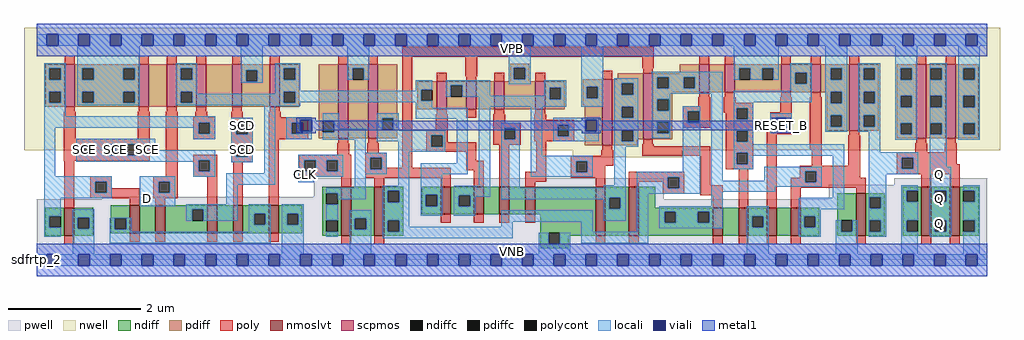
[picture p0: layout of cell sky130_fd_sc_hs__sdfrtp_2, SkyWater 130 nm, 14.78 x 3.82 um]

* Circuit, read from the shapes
.subckt sky130_fd_sc_hs__sdfrtp_2 CLK D RESET_B SCD SCE VGND VNB VPB VPWR Q
XM1 VGND SCE n1 VNB sky130_fd_pr__nfet_01v8_lvt w=0.42 l=0.15
XM2 n2 n1 n3 VNB sky130_fd_pr__nfet_01v8_lvt w=0.42 l=0.15
XM3 n4 D n2 VNB sky130_fd_pr__nfet_01v8_lvt w=0.42 l=0.15
XM4 n5 SCE n4 VNB sky130_fd_pr__nfet_01v8_lvt w=0.42 l=0.15
XM5 n3 SCD n5 VNB sky130_fd_pr__nfet_01v8_lvt w=0.42 l=0.15
XM6 VGND RESET_B n3 VNB sky130_fd_pr__nfet_01v8_lvt w=0.42 l=0.15
XM7 VGND CLK n6 VNB sky130_fd_pr__nfet_01v8_lvt w=0.74 l=0.15
XM8 n7 n6 VGND VNB sky130_fd_pr__nfet_01v8_lvt w=0.74 l=0.15
XM9 n8 n6 n4 VNB sky130_fd_pr__nfet_01v8_lvt w=0.42 l=0.15
XM10 n9 n7 n8 VNB sky130_fd_pr__nfet_01v8_lvt w=0.42 l=0.15
XM11 n10 n11 n9 VNB sky130_fd_pr__nfet_01v8_lvt w=0.42 l=0.15
XM12 VGND RESET_B n10 VNB sky130_fd_pr__nfet_01v8_lvt w=0.42 l=0.15
XM13 n11 n8 VGND VNB sky130_fd_pr__nfet_01v8_lvt w=0.74 l=0.15
XM14 n12 n7 n11 VNB sky130_fd_pr__nfet_01v8_lvt w=0.74 l=0.15
XM15 n13 n6 n12 VNB sky130_fd_pr__nfet_01v8_lvt w=0.42 l=0.15
XM16 VGND n14 n13 VNB sky130_fd_pr__nfet_01v8_lvt w=0.42 l=0.15
XM17 n15 RESET_B VGND VNB sky130_fd_pr__nfet_01v8_lvt w=0.42 l=0.15
XM18 n14 n12 n15 VNB sky130_fd_pr__nfet_01v8_lvt w=0.42 l=0.15
XM19 n16 n12 VGND VNB sky130_fd_pr__nfet_01v8_lvt w=0.64 l=0.15
XM20 Q n16 VGND VNB sky130_fd_pr__nfet_01v8_lvt w=0.74 l=0.15 m=2
XM21 VPWR SCE n1 VPB sky130_fd_pr__pfet_01v8 w=0.64 l=0.15
XM22 n17 SCE VPWR VPB sky130_fd_pr__pfet_01v8 w=0.64 l=0.15
XM23 n4 D n17 VPB sky130_fd_pr__pfet_01v8 w=0.64 l=0.15
XM24 n18 n1 n4 VPB sky130_fd_pr__pfet_01v8 w=0.64 l=0.15
XM25 VPWR SCD n18 VPB sky130_fd_pr__pfet_01v8 w=0.64 l=0.15
XM26 n4 RESET_B VPWR VPB sky130_fd_pr__pfet_01v8 w=0.64 l=0.15
XM27 VPWR CLK n6 VPB sky130_fd_pr__pfet_01v8 w=1.12 l=0.15
XM28 n7 n6 VPWR VPB sky130_fd_pr__pfet_01v8 w=1.12 l=0.15
XM29 n8 n7 n4 VPB sky130_fd_pr__pfet_01v8 w=0.42 l=0.15
XM30 n19 n6 n8 VPB sky130_fd_pr__pfet_01v8 w=0.42 l=0.15
XM31 VPWR n11 n19 VPB sky130_fd_pr__pfet_01v8 w=0.42 l=0.15
XM32 n8 RESET_B VPWR VPB sky130_fd_pr__pfet_01v8 w=0.42 l=0.15
XM33 n11 n8 VPWR VPB sky130_fd_pr__pfet_01v8 w=1 l=0.15
XM34 n12 n6 n11 VPB sky130_fd_pr__pfet_01v8 w=1 l=0.15
XM35 n20 n7 n12 VPB sky130_fd_pr__pfet_01v8 w=0.42 l=0.15
XM36 VPWR n14 n20 VPB sky130_fd_pr__pfet_01v8 w=0.42 l=0.15
XM37 n14 RESET_B VPWR VPB sky130_fd_pr__pfet_01v8 w=0.42 l=0.15
XM38 VPWR n12 n14 VPB sky130_fd_pr__pfet_01v8 w=0.42 l=0.15
XM39 n16 n12 VPWR VPB sky130_fd_pr__pfet_01v8 w=1 l=0.15
XM40 Q n16 VPWR VPB sky130_fd_pr__pfet_01v8 w=1.12 l=0.15 m=2
.ends

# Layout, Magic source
magic
tech sky130A
magscale 1 2
<< nwell >>
rect -38 332 2918 704
rect 1624 311 1956 332
<< pwell >>
rect 840 191 1900 248
rect 2597 228 2879 248
rect 199 184 1900 191
rect 2399 184 2879 228
rect 1 49 2879 184
rect 0 0 2880 49
<< scpmos >>
rect 86 464 116 592
rect 310 464 340 592
rect 394 464 424 592
rect 484 464 514 592
rect 592 464 622 592
rect 706 464 736 592
rect 914 368 944 592
rect 1004 368 1034 592
rect 1212 457 1242 541
rect 1302 457 1332 541
rect 1386 457 1416 541
rect 1511 457 1541 541
rect 1713 347 1743 547
rect 1837 366 1867 566
rect 2007 508 2037 592
rect 2085 508 2115 592
rect 2255 508 2285 592
rect 2345 508 2375 592
rect 2462 392 2492 592
rect 2664 368 2694 592
rect 2754 368 2784 592
<< nmoslvt >>
rect 84 74 114 158
rect 282 81 312 165
rect 360 81 390 165
rect 517 81 547 165
rect 595 81 625 165
rect 704 81 734 165
rect 923 74 953 222
rect 1023 74 1053 222
rect 1224 138 1254 222
rect 1324 138 1354 222
rect 1402 138 1432 222
rect 1480 138 1510 222
rect 1693 74 1723 222
rect 1794 74 1824 222
rect 2048 74 2078 158
rect 2126 74 2156 158
rect 2212 74 2242 158
rect 2284 74 2314 158
rect 2482 74 2512 202
rect 2680 74 2710 222
rect 2766 74 2796 222
<< ndiff >>
rect 866 202 923 222
rect 866 168 878 202
rect 912 168 923 202
rect 27 133 84 158
rect 27 99 39 133
rect 73 99 84 133
rect 27 74 84 99
rect 114 128 171 158
rect 114 94 125 128
rect 159 94 171 128
rect 114 74 171 94
rect 225 127 282 165
rect 225 93 237 127
rect 271 93 282 127
rect 225 81 282 93
rect 312 81 360 165
rect 390 153 517 165
rect 390 119 471 153
rect 505 119 517 153
rect 390 81 517 119
rect 547 81 595 165
rect 625 140 704 165
rect 625 106 659 140
rect 693 106 704 140
rect 625 81 704 106
rect 734 140 805 165
rect 734 106 759 140
rect 793 106 805 140
rect 734 81 805 106
rect 866 120 923 168
rect 866 86 878 120
rect 912 86 923 120
rect 866 74 923 86
rect 953 127 1023 222
rect 953 93 964 127
rect 998 93 1023 127
rect 953 74 1023 93
rect 1053 209 1110 222
rect 1053 175 1064 209
rect 1098 175 1110 209
rect 1053 120 1110 175
rect 1167 197 1224 222
rect 1167 163 1179 197
rect 1213 163 1224 197
rect 1167 138 1224 163
rect 1254 196 1324 222
rect 1254 162 1279 196
rect 1313 162 1324 196
rect 1254 138 1324 162
rect 1354 138 1402 222
rect 1432 138 1480 222
rect 1510 138 1693 222
rect 1053 86 1064 120
rect 1098 86 1110 120
rect 1053 74 1110 86
rect 1525 82 1693 138
rect 1525 48 1551 82
rect 1585 74 1693 82
rect 1723 189 1794 222
rect 1723 155 1734 189
rect 1768 155 1794 189
rect 1723 74 1794 155
rect 1824 158 1874 222
rect 2623 210 2680 222
rect 1824 146 2048 158
rect 1824 112 1902 146
rect 1936 112 2003 146
rect 2037 112 2048 146
rect 1824 74 2048 112
rect 2078 74 2126 158
rect 2156 133 2212 158
rect 2156 99 2167 133
rect 2201 99 2212 133
rect 2156 74 2212 99
rect 2242 74 2284 158
rect 2314 133 2371 158
rect 2314 99 2325 133
rect 2359 99 2371 133
rect 2314 74 2371 99
rect 2425 120 2482 202
rect 2425 86 2437 120
rect 2471 86 2482 120
rect 2425 74 2482 86
rect 2512 190 2569 202
rect 2512 156 2523 190
rect 2557 156 2569 190
rect 2512 120 2569 156
rect 2512 86 2523 120
rect 2557 86 2569 120
rect 2512 74 2569 86
rect 2623 176 2635 210
rect 2669 176 2680 210
rect 2623 120 2680 176
rect 2623 86 2635 120
rect 2669 86 2680 120
rect 2623 74 2680 86
rect 2710 210 2766 222
rect 2710 176 2721 210
rect 2755 176 2766 210
rect 2710 120 2766 176
rect 2710 86 2721 120
rect 2755 86 2766 120
rect 2710 74 2766 86
rect 2796 210 2853 222
rect 2796 176 2807 210
rect 2841 176 2853 210
rect 2796 120 2853 176
rect 2796 86 2807 120
rect 2841 86 2853 120
rect 2796 74 2853 86
rect 1585 48 1612 74
rect 1525 36 1612 48
<< pdiff >>
rect 27 580 86 592
rect 27 546 39 580
rect 73 546 86 580
rect 27 510 86 546
rect 27 476 39 510
rect 73 476 86 510
rect 27 464 86 476
rect 116 580 310 592
rect 116 546 139 580
rect 173 546 263 580
rect 297 546 310 580
rect 116 510 310 546
rect 116 476 139 510
rect 173 476 263 510
rect 297 476 310 510
rect 116 464 310 476
rect 340 464 394 592
rect 424 580 484 592
rect 424 546 437 580
rect 471 546 484 580
rect 424 510 484 546
rect 424 476 437 510
rect 471 476 484 510
rect 424 464 484 476
rect 514 464 592 592
rect 622 575 706 592
rect 622 541 635 575
rect 669 541 706 575
rect 622 464 706 541
rect 736 580 795 592
rect 736 546 749 580
rect 783 546 795 580
rect 736 510 795 546
rect 736 476 749 510
rect 783 476 795 510
rect 736 464 795 476
rect 855 421 914 592
rect 855 387 867 421
rect 901 387 914 421
rect 855 368 914 387
rect 944 580 1004 592
rect 944 546 957 580
rect 991 546 1004 580
rect 944 368 1004 546
rect 1034 429 1093 592
rect 1034 395 1047 429
rect 1081 395 1093 429
rect 1034 368 1093 395
rect 1434 582 1493 594
rect 1434 548 1446 582
rect 1480 548 1493 582
rect 1434 541 1493 548
rect 1948 566 2007 592
rect 1761 547 1837 566
rect 1153 516 1212 541
rect 1153 482 1165 516
rect 1199 482 1212 516
rect 1153 457 1212 482
rect 1242 529 1302 541
rect 1242 495 1255 529
rect 1289 495 1302 529
rect 1242 457 1302 495
rect 1332 457 1386 541
rect 1416 457 1511 541
rect 1541 521 1600 541
rect 1541 487 1554 521
rect 1588 487 1600 521
rect 1541 457 1600 487
rect 1654 524 1713 547
rect 1654 490 1666 524
rect 1700 490 1713 524
rect 1654 468 1713 490
rect 1660 347 1713 468
rect 1743 535 1837 547
rect 1743 501 1773 535
rect 1807 501 1837 535
rect 1743 464 1837 501
rect 1743 430 1773 464
rect 1807 430 1837 464
rect 1743 393 1837 430
rect 1743 359 1773 393
rect 1807 366 1837 393
rect 1867 554 2007 566
rect 1867 520 1880 554
rect 1914 520 1960 554
rect 1994 520 2007 554
rect 1867 508 2007 520
rect 2037 508 2085 592
rect 2115 580 2255 592
rect 2115 546 2128 580
rect 2162 546 2198 580
rect 2232 546 2255 580
rect 2115 508 2255 546
rect 2285 567 2345 592
rect 2285 533 2298 567
rect 2332 533 2345 567
rect 2285 508 2345 533
rect 2375 580 2462 592
rect 2375 546 2405 580
rect 2439 546 2462 580
rect 2375 509 2462 546
rect 2375 508 2405 509
rect 1867 486 1925 508
rect 1867 452 1880 486
rect 1914 452 1925 486
rect 1867 418 1925 452
rect 1867 384 1880 418
rect 1914 384 1925 418
rect 1867 366 1925 384
rect 1807 359 1819 366
rect 1743 347 1819 359
rect 2393 475 2405 508
rect 2439 475 2462 509
rect 2393 438 2462 475
rect 2393 404 2405 438
rect 2439 404 2462 438
rect 2393 392 2462 404
rect 2492 580 2551 592
rect 2492 546 2505 580
rect 2539 546 2551 580
rect 2492 509 2551 546
rect 2492 475 2505 509
rect 2539 475 2551 509
rect 2492 438 2551 475
rect 2492 404 2505 438
rect 2539 404 2551 438
rect 2492 392 2551 404
rect 2605 580 2664 592
rect 2605 546 2617 580
rect 2651 546 2664 580
rect 2605 497 2664 546
rect 2605 463 2617 497
rect 2651 463 2664 497
rect 2605 414 2664 463
rect 2605 380 2617 414
rect 2651 380 2664 414
rect 2605 368 2664 380
rect 2694 580 2754 592
rect 2694 546 2707 580
rect 2741 546 2754 580
rect 2694 497 2754 546
rect 2694 463 2707 497
rect 2741 463 2754 497
rect 2694 414 2754 463
rect 2694 380 2707 414
rect 2741 380 2754 414
rect 2694 368 2754 380
rect 2784 580 2853 592
rect 2784 546 2807 580
rect 2841 546 2853 580
rect 2784 497 2853 546
rect 2784 463 2807 497
rect 2841 463 2853 497
rect 2784 414 2853 463
rect 2784 380 2807 414
rect 2841 380 2853 414
rect 2784 368 2853 380
<< ndiffc >>
rect 878 168 912 202
rect 39 99 73 133
rect 125 94 159 128
rect 237 93 271 127
rect 471 119 505 153
rect 659 106 693 140
rect 759 106 793 140
rect 878 86 912 120
rect 964 93 998 127
rect 1064 175 1098 209
rect 1179 163 1213 197
rect 1279 162 1313 196
rect 1064 86 1098 120
rect 1551 48 1585 82
rect 1734 155 1768 189
rect 1902 112 1936 146
rect 2003 112 2037 146
rect 2167 99 2201 133
rect 2325 99 2359 133
rect 2437 86 2471 120
rect 2523 156 2557 190
rect 2523 86 2557 120
rect 2635 176 2669 210
rect 2635 86 2669 120
rect 2721 176 2755 210
rect 2721 86 2755 120
rect 2807 176 2841 210
rect 2807 86 2841 120
<< pdiffc >>
rect 39 546 73 580
rect 39 476 73 510
rect 139 546 173 580
rect 263 546 297 580
rect 139 476 173 510
rect 263 476 297 510
rect 437 546 471 580
rect 437 476 471 510
rect 635 541 669 575
rect 749 546 783 580
rect 749 476 783 510
rect 867 387 901 421
rect 957 546 991 580
rect 1047 395 1081 429
rect 1446 548 1480 582
rect 1165 482 1199 516
rect 1255 495 1289 529
rect 1554 487 1588 521
rect 1666 490 1700 524
rect 1773 501 1807 535
rect 1773 430 1807 464
rect 1773 359 1807 393
rect 1880 520 1914 554
rect 1960 520 1994 554
rect 2128 546 2162 580
rect 2198 546 2232 580
rect 2298 533 2332 567
rect 2405 546 2439 580
rect 1880 452 1914 486
rect 1880 384 1914 418
rect 2405 475 2439 509
rect 2405 404 2439 438
rect 2505 546 2539 580
rect 2505 475 2539 509
rect 2505 404 2539 438
rect 2617 546 2651 580
rect 2617 463 2651 497
rect 2617 380 2651 414
rect 2707 546 2741 580
rect 2707 463 2741 497
rect 2707 380 2741 414
rect 2807 546 2841 580
rect 2807 463 2841 497
rect 2807 380 2841 414
<< poly >>
rect 86 592 116 618
rect 310 592 340 618
rect 394 592 424 618
rect 484 592 514 618
rect 592 592 622 618
rect 706 592 736 618
rect 914 592 944 618
rect 1004 592 1034 618
rect 1108 615 1870 645
rect 86 449 116 464
rect 310 449 340 464
rect 394 449 424 464
rect 484 449 514 464
rect 592 449 622 464
rect 706 449 736 464
rect 83 367 119 449
rect 307 367 343 449
rect 83 351 343 367
rect 83 317 137 351
rect 171 317 205 351
rect 239 317 273 351
rect 307 317 343 351
rect 83 301 343 317
rect 84 158 114 301
rect 391 253 427 449
rect 481 432 517 449
rect 475 416 541 432
rect 475 382 491 416
rect 525 382 541 416
rect 475 366 541 382
rect 589 430 625 449
rect 703 432 739 449
rect 589 414 655 430
rect 589 380 605 414
rect 639 380 655 414
rect 589 346 655 380
rect 703 416 823 432
rect 703 382 773 416
rect 807 382 823 416
rect 703 366 823 382
rect 162 237 228 253
rect 162 203 178 237
rect 212 217 228 237
rect 354 237 427 253
rect 475 302 547 318
rect 475 268 491 302
rect 525 268 547 302
rect 589 312 605 346
rect 639 312 655 346
rect 589 296 655 312
rect 475 252 547 268
rect 212 203 312 217
rect 162 187 312 203
rect 354 203 370 237
rect 404 203 427 237
rect 354 187 427 203
rect 282 165 312 187
rect 360 165 390 187
rect 517 165 547 252
rect 595 165 625 296
rect 704 165 734 366
rect 914 353 944 368
rect 1004 353 1034 368
rect 911 318 947 353
rect 1001 325 1037 353
rect 795 302 953 318
rect 795 268 811 302
rect 845 268 879 302
rect 913 268 953 302
rect 795 252 953 268
rect 923 222 953 252
rect 995 309 1061 325
rect 995 275 1011 309
rect 1045 279 1061 309
rect 1108 279 1138 615
rect 1212 541 1242 567
rect 1299 556 1335 615
rect 1302 541 1332 556
rect 1386 541 1416 567
rect 1834 581 1870 615
rect 2007 592 2037 618
rect 2085 592 2115 618
rect 2255 592 2285 618
rect 2345 592 2375 618
rect 2462 592 2492 618
rect 2664 592 2694 618
rect 2754 592 2784 618
rect 1511 541 1541 567
rect 1713 547 1743 573
rect 1837 566 1867 581
rect 1212 442 1242 457
rect 1209 393 1245 442
rect 1302 431 1332 457
rect 1386 442 1416 457
rect 1511 442 1541 457
rect 1383 415 1419 442
rect 1508 425 1544 442
rect 1383 399 1466 415
rect 1180 377 1246 393
rect 1180 343 1196 377
rect 1230 357 1246 377
rect 1383 365 1416 399
rect 1450 365 1466 399
rect 1230 343 1332 357
rect 1383 349 1466 365
rect 1508 409 1628 425
rect 1508 375 1578 409
rect 1612 375 1628 409
rect 1508 359 1628 375
rect 1180 327 1332 343
rect 1302 301 1332 327
rect 1045 275 1254 279
rect 995 249 1254 275
rect 1302 271 1354 301
rect 1023 222 1053 249
rect 1224 222 1254 249
rect 1324 222 1354 271
rect 1402 222 1432 349
rect 1514 267 1544 359
rect 2007 493 2037 508
rect 2085 493 2115 508
rect 2255 493 2285 508
rect 2345 493 2375 508
rect 2004 466 2040 493
rect 1957 450 2040 466
rect 1957 416 1973 450
rect 2007 416 2040 450
rect 2082 476 2118 493
rect 2082 460 2170 476
rect 2082 446 2120 460
rect 1957 400 2040 416
rect 2088 426 2120 446
rect 2154 426 2170 460
rect 2252 447 2288 493
rect 2088 392 2170 426
rect 2222 431 2288 447
rect 2222 411 2238 431
rect 1837 351 1867 366
rect 2088 358 2120 392
rect 2154 358 2170 392
rect 1713 332 1743 347
rect 1834 345 1870 351
rect 1710 315 1746 332
rect 1834 315 2040 345
rect 1480 237 1544 267
rect 1618 299 1746 315
rect 1618 265 1634 299
rect 1668 285 1746 299
rect 1668 265 1723 285
rect 1618 249 1723 265
rect 1480 222 1510 237
rect 1693 222 1723 249
rect 1794 251 1962 267
rect 1794 237 1912 251
rect 1794 222 1824 237
rect 84 48 114 74
rect 282 55 312 81
rect 360 55 390 81
rect 517 55 547 81
rect 595 55 625 81
rect 704 55 734 81
rect 1224 112 1254 138
rect 1324 112 1354 138
rect 1402 112 1432 138
rect 1480 112 1510 138
rect 923 48 953 74
rect 1023 48 1053 74
rect 1896 217 1912 237
rect 1946 217 1962 251
rect 1896 201 1962 217
rect 2010 226 2040 315
rect 2088 324 2170 358
rect 2088 290 2120 324
rect 2154 290 2170 324
rect 2088 274 2170 290
rect 2212 397 2238 411
rect 2272 397 2288 431
rect 2212 381 2288 397
rect 2010 196 2078 226
rect 2048 158 2078 196
rect 2126 158 2156 274
rect 2212 158 2242 381
rect 2342 333 2378 493
rect 2462 377 2492 392
rect 2348 285 2378 333
rect 2459 285 2495 377
rect 2664 353 2694 368
rect 2754 353 2784 368
rect 2661 326 2697 353
rect 2751 326 2787 353
rect 2312 269 2495 285
rect 2312 249 2328 269
rect 2284 235 2328 249
rect 2362 249 2495 269
rect 2605 310 2787 326
rect 2605 276 2621 310
rect 2655 290 2787 310
rect 2655 276 2796 290
rect 2605 260 2796 276
rect 2362 235 2512 249
rect 2284 219 2512 235
rect 2680 222 2710 260
rect 2766 222 2796 260
rect 2284 158 2314 219
rect 2482 202 2512 219
rect 1693 48 1723 74
rect 1794 48 1824 74
rect 2048 48 2078 74
rect 2126 48 2156 74
rect 2212 48 2242 74
rect 2284 48 2314 74
rect 2482 48 2512 74
rect 2680 48 2710 74
rect 2766 48 2796 74
<< polycont >>
rect 137 317 171 351
rect 205 317 239 351
rect 273 317 307 351
rect 491 382 525 416
rect 605 380 639 414
rect 773 382 807 416
rect 178 203 212 237
rect 491 268 525 302
rect 605 312 639 346
rect 370 203 404 237
rect 811 268 845 302
rect 879 268 913 302
rect 1011 275 1045 309
rect 1196 343 1230 377
rect 1416 365 1450 399
rect 1578 375 1612 409
rect 1973 416 2007 450
rect 2120 426 2154 460
rect 2120 358 2154 392
rect 1634 265 1668 299
rect 1912 217 1946 251
rect 2120 290 2154 324
rect 2238 397 2272 431
rect 2328 235 2362 269
rect 2621 276 2655 310
<< locali >>
rect 0 649 31 683
rect 65 649 127 683
rect 161 649 223 683
rect 257 649 319 683
rect 353 649 415 683
rect 449 649 511 683
rect 545 649 607 683
rect 641 649 703 683
rect 737 649 799 683
rect 833 649 895 683
rect 929 649 991 683
rect 1025 649 1087 683
rect 1121 649 1183 683
rect 1217 649 1279 683
rect 1313 649 1375 683
rect 1409 649 1471 683
rect 1505 649 1567 683
rect 1601 649 1663 683
rect 1697 649 1759 683
rect 1793 649 1855 683
rect 1889 649 1951 683
rect 1985 649 2047 683
rect 2081 649 2143 683
rect 2177 649 2239 683
rect 2273 649 2335 683
rect 2369 649 2431 683
rect 2465 649 2527 683
rect 2561 649 2623 683
rect 2657 649 2719 683
rect 2753 649 2815 683
rect 2849 649 2880 683
rect 23 580 89 596
rect 23 546 39 580
rect 73 546 89 580
rect 23 510 89 546
rect 23 476 39 510
rect 73 476 89 510
rect 23 435 89 476
rect 123 580 313 649
rect 123 546 139 580
rect 173 546 263 580
rect 297 546 313 580
rect 123 510 313 546
rect 123 476 139 510
rect 173 476 263 510
rect 297 476 313 510
rect 123 469 313 476
rect 421 580 487 596
rect 421 546 437 580
rect 471 546 487 580
rect 421 510 487 546
rect 619 575 685 649
rect 619 541 635 575
rect 669 541 685 575
rect 619 537 685 541
rect 723 580 799 596
rect 723 546 749 580
rect 783 546 799 580
rect 941 580 1007 649
rect 941 546 957 580
rect 991 546 1007 580
rect 1430 582 1497 649
rect 1430 548 1446 582
rect 1480 548 1497 582
rect 421 476 437 510
rect 471 503 487 510
rect 723 512 799 546
rect 1149 516 1199 545
rect 1149 512 1165 516
rect 723 510 1165 512
rect 723 503 749 510
rect 471 476 749 503
rect 783 482 1165 510
rect 1239 529 1374 545
rect 1430 532 1497 548
rect 1239 495 1255 529
rect 1289 498 1374 529
rect 1538 521 1604 545
rect 1538 498 1554 521
rect 1289 495 1554 498
rect 783 478 1199 482
rect 783 476 799 478
rect 421 469 799 476
rect 689 466 799 469
rect 23 416 541 435
rect 23 401 491 416
rect 23 253 57 401
rect 475 382 491 401
rect 525 382 541 416
rect 121 351 359 367
rect 475 366 541 382
rect 589 414 655 430
rect 589 380 605 414
rect 639 380 655 414
rect 121 317 137 351
rect 171 317 205 351
rect 239 317 273 351
rect 307 332 359 351
rect 589 346 655 380
rect 307 317 541 332
rect 121 302 541 317
rect 121 298 491 302
rect 475 268 491 298
rect 525 268 541 302
rect 589 312 605 346
rect 639 312 655 346
rect 589 296 655 312
rect 23 237 228 253
rect 23 203 178 237
rect 212 203 228 237
rect 23 187 228 203
rect 313 237 420 253
rect 475 252 541 268
rect 689 262 723 466
rect 1149 461 1199 478
rect 1340 487 1554 495
rect 1588 487 1604 521
rect 1340 464 1604 487
rect 1650 524 1716 649
rect 2112 580 2248 649
rect 1864 554 2078 570
rect 1650 490 1666 524
rect 1700 490 1716 524
rect 1650 464 1716 490
rect 1750 535 1823 551
rect 1750 501 1773 535
rect 1807 501 1823 535
rect 1750 464 1823 501
rect 757 424 833 432
rect 757 416 799 424
rect 757 382 773 416
rect 807 382 833 390
rect 757 366 833 382
rect 867 421 917 444
rect 901 398 917 421
rect 1031 429 1097 444
rect 901 387 997 398
rect 867 364 997 387
rect 963 325 997 364
rect 1031 395 1047 429
rect 1081 395 1097 429
rect 1149 427 1306 461
rect 1031 393 1097 395
rect 1031 377 1238 393
rect 1031 359 1196 377
rect 1095 343 1196 359
rect 1230 343 1238 377
rect 1095 327 1238 343
rect 313 203 370 237
rect 404 203 420 237
rect 23 133 73 187
rect 313 162 420 203
rect 575 228 723 262
rect 793 302 929 318
rect 793 268 811 302
rect 845 268 879 302
rect 913 268 929 302
rect 793 252 929 268
rect 963 309 1061 325
rect 963 275 1011 309
rect 1045 275 1061 309
rect 963 259 1061 275
rect 793 236 839 252
rect 575 169 609 228
rect 963 218 997 259
rect 1095 225 1129 327
rect 1272 293 1306 427
rect 878 202 997 218
rect 454 153 609 169
rect 23 99 39 133
rect 23 70 73 99
rect 109 128 175 153
rect 109 94 125 128
rect 159 94 175 128
rect 109 17 175 94
rect 221 127 287 128
rect 221 93 237 127
rect 271 93 287 127
rect 454 119 471 153
rect 505 119 609 153
rect 643 140 709 169
rect 221 85 287 93
rect 643 106 659 140
rect 693 106 709 140
rect 643 85 709 106
rect 221 51 709 85
rect 743 140 809 169
rect 743 106 759 140
rect 793 106 809 140
rect 743 17 809 106
rect 912 184 997 202
rect 1048 209 1129 225
rect 878 120 912 168
rect 1048 175 1064 209
rect 1098 175 1129 209
rect 878 70 912 86
rect 948 127 1014 150
rect 948 93 964 127
rect 998 93 1014 127
rect 948 17 1014 93
rect 1048 120 1129 175
rect 1163 259 1306 293
rect 1163 197 1229 259
rect 1340 225 1374 464
rect 1163 163 1179 197
rect 1213 163 1229 197
rect 1163 134 1229 163
rect 1263 196 1374 225
rect 1263 162 1279 196
rect 1313 191 1374 196
rect 1408 399 1463 415
rect 1408 365 1416 399
rect 1450 365 1463 399
rect 1408 218 1463 365
rect 1497 315 1531 464
rect 1750 430 1773 464
rect 1807 430 1823 464
rect 1565 424 1703 430
rect 1565 409 1663 424
rect 1565 375 1578 409
rect 1612 390 1663 409
rect 1697 390 1703 424
rect 1612 375 1703 390
rect 1565 359 1703 375
rect 1750 393 1823 430
rect 1750 359 1773 393
rect 1807 359 1823 393
rect 1864 520 1880 554
rect 1914 520 1960 554
rect 1994 520 2078 554
rect 2112 546 2128 580
rect 2162 546 2198 580
rect 2232 546 2248 580
rect 2282 567 2348 596
rect 1864 504 2078 520
rect 2282 533 2298 567
rect 2332 533 2348 567
rect 2282 512 2348 533
rect 1864 486 1920 504
rect 1864 452 1880 486
rect 1914 452 1920 486
rect 1864 418 1920 452
rect 1864 384 1880 418
rect 1914 384 1920 418
rect 1864 368 1920 384
rect 1957 450 2010 466
rect 1957 416 1973 450
rect 2007 416 2010 450
rect 1750 343 1823 359
rect 1497 299 1684 315
rect 1497 265 1634 299
rect 1668 265 1684 299
rect 1497 252 1684 265
rect 1750 226 1784 343
rect 1957 267 2010 416
rect 1718 218 1784 226
rect 1313 162 1329 191
rect 1408 189 1784 218
rect 1408 184 1734 189
rect 1263 134 1329 162
rect 1718 155 1734 184
rect 1768 155 1784 189
rect 1048 86 1064 120
rect 1098 100 1129 120
rect 1408 116 1684 150
rect 1718 119 1784 155
rect 1818 251 2010 267
rect 1818 217 1912 251
rect 1946 217 2010 251
rect 1818 201 2010 217
rect 2044 240 2078 504
rect 2112 478 2348 512
rect 2389 580 2455 649
rect 2389 546 2405 580
rect 2439 546 2455 580
rect 2389 509 2455 546
rect 2112 460 2170 478
rect 2112 426 2120 460
rect 2154 426 2170 460
rect 2389 475 2405 509
rect 2439 475 2455 509
rect 2112 392 2170 426
rect 2112 358 2120 392
rect 2154 358 2170 392
rect 2222 431 2288 444
rect 2222 397 2238 431
rect 2272 424 2288 431
rect 2222 390 2239 397
rect 2273 390 2288 424
rect 2222 384 2288 390
rect 2389 438 2455 475
rect 2389 404 2405 438
rect 2439 404 2455 438
rect 2389 388 2455 404
rect 2489 580 2555 596
rect 2489 546 2505 580
rect 2539 546 2555 580
rect 2489 509 2555 546
rect 2489 475 2505 509
rect 2539 475 2555 509
rect 2489 438 2555 475
rect 2489 404 2505 438
rect 2539 404 2555 438
rect 2489 388 2555 404
rect 2112 350 2170 358
rect 2112 324 2446 350
rect 2112 290 2120 324
rect 2154 316 2446 324
rect 2154 290 2170 316
rect 2112 274 2170 290
rect 2204 269 2378 282
rect 2204 240 2328 269
rect 2044 235 2328 240
rect 2362 235 2378 269
rect 2044 222 2378 235
rect 2044 206 2238 222
rect 1408 100 1442 116
rect 1098 86 1442 100
rect 1048 66 1442 86
rect 1650 85 1684 116
rect 1818 85 1852 201
rect 2044 162 2078 206
rect 2412 188 2446 316
rect 1886 146 2078 162
rect 1886 112 1902 146
rect 1936 112 2003 146
rect 2037 112 2078 146
rect 1886 96 2078 112
rect 2151 133 2217 162
rect 2151 99 2167 133
rect 2201 99 2217 133
rect 1521 48 1551 82
rect 1585 48 1616 82
rect 1650 51 1852 85
rect 1521 17 1616 48
rect 2151 17 2217 99
rect 2309 154 2446 188
rect 2521 326 2555 388
rect 2601 580 2667 649
rect 2601 546 2617 580
rect 2651 546 2667 580
rect 2601 497 2667 546
rect 2601 463 2617 497
rect 2651 463 2667 497
rect 2601 414 2667 463
rect 2601 380 2617 414
rect 2651 380 2667 414
rect 2601 364 2667 380
rect 2705 580 2757 596
rect 2705 546 2707 580
rect 2741 546 2757 580
rect 2705 497 2757 546
rect 2705 463 2707 497
rect 2741 463 2757 497
rect 2705 414 2757 463
rect 2705 380 2707 414
rect 2741 380 2757 414
rect 2521 310 2671 326
rect 2521 276 2621 310
rect 2655 276 2671 310
rect 2521 260 2671 276
rect 2705 282 2757 380
rect 2791 580 2857 649
rect 2791 546 2807 580
rect 2841 546 2857 580
rect 2791 497 2857 546
rect 2791 463 2807 497
rect 2841 463 2857 497
rect 2791 414 2857 463
rect 2791 380 2807 414
rect 2841 380 2857 414
rect 2791 364 2857 380
rect 2521 190 2573 260
rect 2521 156 2523 190
rect 2557 156 2573 190
rect 2309 133 2375 154
rect 2309 99 2325 133
rect 2359 99 2375 133
rect 2521 120 2573 156
rect 2309 70 2375 99
rect 2421 86 2437 120
rect 2471 86 2487 120
rect 2421 17 2487 86
rect 2521 86 2523 120
rect 2557 86 2573 120
rect 2521 70 2573 86
rect 2619 210 2669 226
rect 2619 176 2635 210
rect 2619 120 2669 176
rect 2619 86 2635 120
rect 2619 17 2669 86
rect 2705 210 2771 282
rect 2705 176 2721 210
rect 2755 176 2771 210
rect 2705 120 2771 176
rect 2705 86 2721 120
rect 2755 86 2771 120
rect 2705 70 2771 86
rect 2807 210 2857 226
rect 2841 176 2857 210
rect 2807 120 2857 176
rect 2841 86 2857 120
rect 2807 17 2857 86
rect 0 -17 31 17
rect 65 -17 127 17
rect 161 -17 223 17
rect 257 -17 319 17
rect 353 -17 415 17
rect 449 -17 511 17
rect 545 -17 607 17
rect 641 -17 703 17
rect 737 -17 799 17
rect 833 -17 895 17
rect 929 -17 991 17
rect 1025 -17 1087 17
rect 1121 -17 1183 17
rect 1217 -17 1279 17
rect 1313 -17 1375 17
rect 1409 -17 1471 17
rect 1505 -17 1567 17
rect 1601 -17 1663 17
rect 1697 -17 1759 17
rect 1793 -17 1855 17
rect 1889 -17 1951 17
rect 1985 -17 2047 17
rect 2081 -17 2143 17
rect 2177 -17 2239 17
rect 2273 -17 2335 17
rect 2369 -17 2431 17
rect 2465 -17 2527 17
rect 2561 -17 2623 17
rect 2657 -17 2719 17
rect 2753 -17 2815 17
rect 2849 -17 2880 17
<< viali >>
rect 31 649 65 683
rect 127 649 161 683
rect 223 649 257 683
rect 319 649 353 683
rect 415 649 449 683
rect 511 649 545 683
rect 607 649 641 683
rect 703 649 737 683
rect 799 649 833 683
rect 895 649 929 683
rect 991 649 1025 683
rect 1087 649 1121 683
rect 1183 649 1217 683
rect 1279 649 1313 683
rect 1375 649 1409 683
rect 1471 649 1505 683
rect 1567 649 1601 683
rect 1663 649 1697 683
rect 1759 649 1793 683
rect 1855 649 1889 683
rect 1951 649 1985 683
rect 2047 649 2081 683
rect 2143 649 2177 683
rect 2239 649 2273 683
rect 2335 649 2369 683
rect 2431 649 2465 683
rect 2527 649 2561 683
rect 2623 649 2657 683
rect 2719 649 2753 683
rect 2815 649 2849 683
rect 799 416 833 424
rect 799 390 807 416
rect 807 390 833 416
rect 1663 390 1697 424
rect 2239 397 2272 424
rect 2272 397 2273 424
rect 2239 390 2273 397
rect 31 -17 65 17
rect 127 -17 161 17
rect 223 -17 257 17
rect 319 -17 353 17
rect 415 -17 449 17
rect 511 -17 545 17
rect 607 -17 641 17
rect 703 -17 737 17
rect 799 -17 833 17
rect 895 -17 929 17
rect 991 -17 1025 17
rect 1087 -17 1121 17
rect 1183 -17 1217 17
rect 1279 -17 1313 17
rect 1375 -17 1409 17
rect 1471 -17 1505 17
rect 1567 -17 1601 17
rect 1663 -17 1697 17
rect 1759 -17 1793 17
rect 1855 -17 1889 17
rect 1951 -17 1985 17
rect 2047 -17 2081 17
rect 2143 -17 2177 17
rect 2239 -17 2273 17
rect 2335 -17 2369 17
rect 2431 -17 2465 17
rect 2527 -17 2561 17
rect 2623 -17 2657 17
rect 2719 -17 2753 17
rect 2815 -17 2849 17
<< metal1 >>
rect 0 683 2880 715
rect 0 649 31 683
rect 65 649 127 683
rect 161 649 223 683
rect 257 649 319 683
rect 353 649 415 683
rect 449 649 511 683
rect 545 649 607 683
rect 641 649 703 683
rect 737 649 799 683
rect 833 649 895 683
rect 929 649 991 683
rect 1025 649 1087 683
rect 1121 649 1183 683
rect 1217 649 1279 683
rect 1313 649 1375 683
rect 1409 649 1471 683
rect 1505 649 1567 683
rect 1601 649 1663 683
rect 1697 649 1759 683
rect 1793 649 1855 683
rect 1889 649 1951 683
rect 1985 649 2047 683
rect 2081 649 2143 683
rect 2177 649 2239 683
rect 2273 649 2335 683
rect 2369 649 2431 683
rect 2465 649 2527 683
rect 2561 649 2623 683
rect 2657 649 2719 683
rect 2753 649 2815 683
rect 2849 649 2880 683
rect 0 617 2880 649
rect 787 424 845 430
rect 787 390 799 424
rect 833 421 845 424
rect 1651 424 1709 430
rect 1651 421 1663 424
rect 833 393 1663 421
rect 833 390 845 393
rect 787 384 845 390
rect 1651 390 1663 393
rect 1697 421 1709 424
rect 2227 424 2285 430
rect 2227 421 2239 424
rect 1697 393 2239 421
rect 1697 390 1709 393
rect 1651 384 1709 390
rect 2227 390 2239 393
rect 2273 390 2285 424
rect 2227 384 2285 390
rect 0 17 2880 49
rect 0 -17 31 17
rect 65 -17 127 17
rect 161 -17 223 17
rect 257 -17 319 17
rect 353 -17 415 17
rect 449 -17 511 17
rect 545 -17 607 17
rect 641 -17 703 17
rect 737 -17 799 17
rect 833 -17 895 17
rect 929 -17 991 17
rect 1025 -17 1087 17
rect 1121 -17 1183 17
rect 1217 -17 1279 17
rect 1313 -17 1375 17
rect 1409 -17 1471 17
rect 1505 -17 1567 17
rect 1601 -17 1663 17
rect 1697 -17 1759 17
rect 1793 -17 1855 17
rect 1889 -17 1951 17
rect 1985 -17 2047 17
rect 2081 -17 2143 17
rect 2177 -17 2239 17
rect 2273 -17 2335 17
rect 2369 -17 2431 17
rect 2465 -17 2527 17
rect 2561 -17 2623 17
rect 2657 -17 2719 17
rect 2753 -17 2815 17
rect 2849 -17 2880 17
rect 0 -49 2880 -17
<< labels >>
rlabel comment s 0 0 0 0 4 sdfrtp_2
flabel pwell s 0 0 2880 49 0 FreeSans 200 0 0 0 VNB
port 7 nsew ground bidirectional
flabel nwell s 0 617 2880 666 0 FreeSans 200 0 0 0 VPB
port 8 nsew power bidirectional
flabel metal1 s 2239 390 2273 424 0 FreeSans 340 0 0 0 RESET_B
port 3 nsew signal input
flabel metal1 s 0 617 2880 666 0 FreeSans 340 0 0 0 VPWR
port 9 nsew power bidirectional
flabel metal1 s 0 0 2880 49 0 FreeSans 340 0 0 0 VGND
port 6 nsew ground bidirectional
flabel locali s 319 168 353 202 0 FreeSans 340 0 0 0 D
port 2 nsew signal input
flabel locali s 127 316 161 350 0 FreeSans 340 0 0 0 SCE
port 5 nsew signal input
flabel locali s 223 316 257 350 0 FreeSans 340 0 0 0 SCE
port 5 nsew signal input
flabel locali s 319 316 353 350 0 FreeSans 340 0 0 0 SCE
port 5 nsew signal input
flabel locali s 607 316 641 350 0 FreeSans 340 0 0 0 SCD
port 4 nsew signal input
flabel locali s 607 390 641 424 0 FreeSans 340 0 0 0 SCD
port 4 nsew signal input
flabel locali s 799 242 833 276 0 FreeSans 340 0 0 0 CLK
port 1 nsew clock input
flabel locali s 2719 94 2753 128 0 FreeSans 340 0 0 0 Q
port 10 nsew signal output
flabel locali s 2719 168 2753 202 0 FreeSans 340 0 0 0 Q
port 10 nsew signal output
flabel locali s 2719 242 2753 276 0 FreeSans 340 0 0 0 Q
port 10 nsew signal output
<< properties >>
string LEFsite unit
string LEFclass CORE
string FIXED_BBOX 0 0 2880 666
string GDS_FILE $PDKPATH/libs.ref/sky130_fd_sc_hs/gds/sky130_fd_sc_hs.gds
string LEFsymmetry X Y R90
string GDS_END 2132928
string GDS_START 2111926
<< end >>
